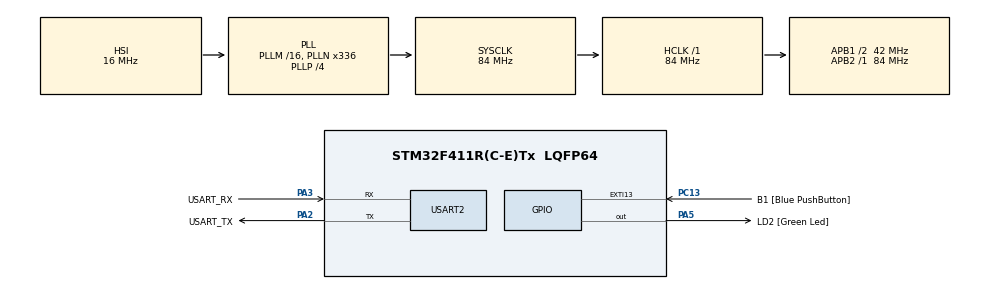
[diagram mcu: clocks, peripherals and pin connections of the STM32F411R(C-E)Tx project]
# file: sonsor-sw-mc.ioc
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Mcu.Family=STM32F4
Mcu.Name=STM32F411R(C-E)Tx
Mcu.Package=LQFP64
NVIC.PriorityGroup=NVIC_PRIORITYGROUP_0
NVIC.TIM3_IRQn=true\:0\:0\:false\:false\:true\:true\:true\:true
NVIC.USART2_IRQn=true\:0\:0\:false\:false\:true\:true\:true\:true
PA13.GPIO_Label=TMS
PA13.Mode=Serial_Wire
PA13.Signal=SYS_JTMS-SWDIO
PA14.GPIO_Label=TCK
PA14.Mode=Serial_Wire
PA14.Signal=SYS_JTCK-SWCLK
PA2.GPIO_Label=USART_TX
PA2.Mode=Asynchronous
PA2.Signal=USART2_TX
PA3.GPIO_Label=USART_RX
PA3.Mode=Asynchronous
PA3.Signal=USART2_RX
PA5.GPIO_Label=LD2 [Green Led]
PA5.Signal=GPIO_Output
PB3.GPIO_Label=SWO
PB3.Signal=SYS_JTDO-SWO
PC13-ANTI_TAMP.GPIO_Label=B1 [Blue PushButton]
PC13-ANTI_TAMP.GPIO_ModeDefaultEXTI=GPIO_MODE_IT_FALLING
PC13-ANTI_TAMP.Signal=GPXTI13
PC14-OSC32_IN.Mode=LSE-External-Oscillator
PC14-OSC32_IN.Signal=RCC_OSC32_IN
PC15-OSC32_OUT.Mode=LSE-External-Oscillator
PC15-OSC32_OUT.Signal=RCC_OSC32_OUT
PH0\ -\ OSC_IN.Mode=HSE-External-Clock-Source
PH0\ -\ OSC_IN.Signal=RCC_OSC_IN
PH1\ -\ OSC_OUT.Mode=HSE-External-Clock-Source
PH1\ -\ OSC_OUT.Signal=RCC_OSC_OUT
ProjectManager.HeapSize=0x200
ProjectManager.StackSize=0x400
ProjectManager.TargetToolchain=STM32CubeIDE
RCC.48MHZClocksFreq_Value=84000000
RCC.AHBFreq_Value=84000000
RCC.APB1CLKDivider=RCC_HCLK_DIV2
RCC.APB1Freq_Value=42000000
RCC.APB1TimFreq_Value=84000000
RCC.APB2Freq_Value=84000000
RCC.APB2TimFreq_Value=84000000
RCC.CortexFreq_Value=84000000
RCC.FLatency-AdvancedSettings=FLASH_LATENCY_2
RCC.HCLKFreq_Value=84000000
RCC.HSE_VALUE=8000000
RCC.HSI_VALUE=16000000
RCC.PLLN=336
RCC.PLLP=RCC_PLLP_DIV4
RCC.SYSCLKFreq_VALUE=84000000
RCC.SYSCLKSource=RCC_SYSCLKSOURCE_PLLCLK
RCC.VCOOutputFreq_Value=336000000
USART2.VirtualMode=VM_ASYNC
VP_TIM3_VS_ClockSourceINT.Mode=Internal
board=NUCLEO-F411RE

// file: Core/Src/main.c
/* USER CODE BEGIN Header */
/**
  ******************************************************************************
  * @file           : main.c
  * @brief          : Main program body
  ******************************************************************************
  * @attention
  *
  * Copyright (c) 2024 STMicroelectronics.
  * All rights reserved.
  *
  * This software is licensed under terms that can be found in the LICENSE file
  * in the root directory of this software component.
  * If no LICENSE file comes with this software, it is provided AS-IS.
  *
  ******************************************************************************
  */
/* USER CODE END Header */
#include "main.h"

/* USER CODE BEGIN Includes */
#include <kommunikation/sensor_send_interface.h>
#include <kommunikation/interface_receive_handler.h>
#include <Data/sensor.h>
#include <Data/uart_data.h>
/* USER CODE END Includes */

TIM_HandleTypeDef htim3;

UART_HandleTypeDef huart2;

/* USER CODE BEGIN PV */
// GLOBALE VARIABLEN
SensorSendHandler sender;
Sensor sensor;
UartDataObject uartData;
InterfaceReceiveHandler reciever;
/* USER CODE END PV */

void SystemClock_Config(void);
static void MX_GPIO_Init(void);
static void MX_USART2_UART_Init(void);
static void MX_TIM3_Init(void);

int main(void)
{

  /* MCU Configuration--------------------------------------------------------*/

  /* Reset of all peripherals, Initializes the Flash interface and the Systick. */
  HAL_Init();

  /* USER CODE BEGIN Init */
  float curve[5] = {1.0, 2.5, 3.7, 4.2, 5.8};

  // Initialisierung des SensorInformation-Objekts mit der initSensor-Funktion
  sensor = initSensor(2.5, 10.0, curve, 1, "Mechanischer Sensor");

  /* USER CODE END Init */

  /* Configure the system clock */
  SystemClock_Config();

  /* Initialize all configured peripherals */
  MX_GPIO_Init();
  MX_USART2_UART_Init();
  MX_TIM3_Init();
  /* USER CODE BEGIN 2 */
  uartData = createUartDataObject();
  sender = createSendHandler(10);
  reciever = createInterfaceReceiveHandler(&sensor, &sender, &huart2, &huart2, &htim3);

  HAL_TIM_Base_Start_IT(&htim3);
  HAL_UART_Receive_IT(&huart2,uartData.data.receivedData, 1);

  /* USER CODE END 2 */

  /* Infinite loop */
  while (1)
  {

    /* USER CODE BEGIN 3 */
	  // AUSWERTUNG EMPFANGENER NACHRICHTEN
	  if (uartData.data.messageComplete) {
		  processInterfaceMessage(&reciever, uartData.data.receivedData, uartData.data.dataIndex);
		  // Zurücksetzen für die nächste Nachricht
		  uartData.data.messageComplete = 0;
		  uartData.data.dataIndex = 0;
		  HAL_UART_Receive_IT(&huart2, (uint8_t *)uartData.data.receivedData, 1);
	  }
  }
  /* USER CODE END 3 */
}

void SystemClock_Config(void)
{
  RCC_OscInitTypeDef RCC_OscInitStruct = {0};
  RCC_ClkInitTypeDef RCC_ClkInitStruct = {0};

  /** Configure the main internal regulator output voltage
  */
  __HAL_RCC_PWR_CLK_ENABLE();
  __HAL_PWR_VOLTAGESCALING_CONFIG(PWR_REGULATOR_VOLTAGE_SCALE1);

  /** Initializes the RCC Oscillators according to the specified parameters
  * in the RCC_OscInitTypeDef structure.
  */
  RCC_OscInitStruct.OscillatorType = RCC_OSCILLATORTYPE_HSI;
  RCC_OscInitStruct.HSIState = RCC_HSI_ON;
  RCC_OscInitStruct.HSICalibrationValue = RCC_HSICALIBRATION_DEFAULT;
  RCC_OscInitStruct.PLL.PLLState = RCC_PLL_ON;
  RCC_OscInitStruct.PLL.PLLSource = RCC_PLLSOURCE_HSI;
  RCC_OscInitStruct.PLL.PLLM = 16;
  RCC_OscInitStruct.PLL.PLLN = 336;
  RCC_OscInitStruct.PLL.PLLP = RCC_PLLP_DIV4;
  RCC_OscInitStruct.PLL.PLLQ = 4;
  if (HAL_RCC_OscConfig(&RCC_OscInitStruct) != HAL_OK)
  {
    Error_Handler();
  }

  /** Initializes the CPU, AHB and APB buses clocks
  */
  RCC_ClkInitStruct.ClockType = RCC_CLOCKTYPE_HCLK|RCC_CLOCKTYPE_SYSCLK
                              |RCC_CLOCKTYPE_PCLK1|RCC_CLOCKTYPE_PCLK2;
  RCC_ClkInitStruct.SYSCLKSource = RCC_SYSCLKSOURCE_PLLCLK;
  RCC_ClkInitStruct.AHBCLKDivider = RCC_SYSCLK_DIV1;
  RCC_ClkInitStruct.APB1CLKDivider = RCC_HCLK_DIV2;
  RCC_ClkInitStruct.APB2CLKDivider = RCC_HCLK_DIV1;

  if (HAL_RCC_ClockConfig(&RCC_ClkInitStruct, FLASH_LATENCY_2) != HAL_OK)
  {
    Error_Handler();
  }
}

static void MX_TIM3_Init(void)
{

  TIM_ClockConfigTypeDef sClockSourceConfig = {0};
  TIM_MasterConfigTypeDef sMasterConfig = {0};

  htim3.Instance = TIM3;
  htim3.Init.Prescaler = 0;
  htim3.Init.CounterMode = TIM_COUNTERMODE_UP;
  htim3.Init.Period = 65535;
  htim3.Init.ClockDivision = TIM_CLOCKDIVISION_DIV1;
  htim3.Init.AutoReloadPreload = TIM_AUTORELOAD_PRELOAD_DISABLE;
  if (HAL_TIM_Base_Init(&htim3) != HAL_OK)
  {
    Error_Handler();
  }
  sClockSourceConfig.ClockSource = TIM_CLOCKSOURCE_INTERNAL;
  if (HAL_TIM_ConfigClockSource(&htim3, &sClockSourceConfig) != HAL_OK)
  {
    Error_Handler();
  }
  sMasterConfig.MasterOutputTrigger = TIM_TRGO_RESET;
  sMasterConfig.MasterSlaveMode = TIM_MASTERSLAVEMODE_DISABLE;
  if (HAL_TIMEx_MasterConfigSynchronization(&htim3, &sMasterConfig) != HAL_OK)
  {
    Error_Handler();
  }

}

static void MX_USART2_UART_Init(void)
{

  huart2.Instance = USART2;
  huart2.Init.BaudRate = 115200;
  huart2.Init.WordLength = UART_WORDLENGTH_8B;
  huart2.Init.StopBits = UART_STOPBITS_1;
  huart2.Init.Parity = UART_PARITY_NONE;
  huart2.Init.Mode = UART_MODE_TX_RX;
  huart2.Init.HwFlowCtl = UART_HWCONTROL_NONE;
  huart2.Init.OverSampling = UART_OVERSAMPLING_16;
  if (HAL_UART_Init(&huart2) != HAL_OK)
  {
    Error_Handler();
  }

}

static void MX_GPIO_Init(void)
{
  GPIO_InitTypeDef GPIO_InitStruct = {0};

  /* GPIO Ports Clock Enable */
  __HAL_RCC_GPIOC_CLK_ENABLE();
  __HAL_RCC_GPIOH_CLK_ENABLE();
  __HAL_RCC_GPIOA_CLK_ENABLE();
  __HAL_RCC_GPIOB_CLK_ENABLE();

  /*Configure GPIO pin Output Level */
  HAL_GPIO_WritePin(LD2_GPIO_Port, LD2_Pin, GPIO_PIN_RESET);

  /*Configure GPIO pin : B1_Pin */
  GPIO_InitStruct.Pin = B1_Pin;
  GPIO_InitStruct.Mode = GPIO_MODE_IT_FALLING;
  GPIO_InitStruct.Pull = GPIO_NOPULL;
  HAL_GPIO_Init(B1_GPIO_Port, &GPIO_InitStruct);

  /*Configure GPIO pin : LD2_Pin */
  GPIO_InitStruct.Pin = LD2_Pin;
  GPIO_InitStruct.Mode = GPIO_MODE_OUTPUT_PP;
  GPIO_InitStruct.Pull = GPIO_NOPULL;
  GPIO_InitStruct.Speed = GPIO_SPEED_FREQ_LOW;
  HAL_GPIO_Init(LD2_GPIO_Port, &GPIO_InitStruct);

}

/* USER CODE BEGIN 4 */
void HAL_UART_RxCpltCallback(UART_HandleTypeDef *huart) {
  if (huart == &huart2) {
    if (uartData.data.dataIndex == 0 && uartData.data.receivedData[0] != '?' && uartData.data.receivedData[0] != '!') {
      // Fehlerhafte Startbyte, Nachricht ignorieren
      uartData.data.dataIndex = 0;
      HAL_UART_Receive_IT(&huart2, &uartData.data.receivedData[0], 1);
    } else if (uartData.data.receivedData[uartData.data.dataIndex] == '\r') {
      uartData.data.receivedData[uartData.data.dataIndex + 1] = '\0';  // Null-Terminierung hinzufügen
      uartData.data.messageComplete = 1;
    } else if (uartData.data.dataIndex >= sizeof(uartData.data.receivedData) - 1) {
      // Zu große Nachricht, zurücksetzen
      uartData.data.dataIndex = 0;
      HAL_UART_Receive_IT(&huart2, &uartData.data.receivedData[0], 1);
    } else {
      uartData.data.dataIndex++;
      HAL_UART_Receive_IT(&huart2, (uint8_t *)&uartData.data.receivedData[uartData.data.dataIndex], 1);
    }
  }
}
/* USER CODE END 4 */

void Error_Handler(void)
{
  __disable_irq();
  while (1)
  {
  }
}
